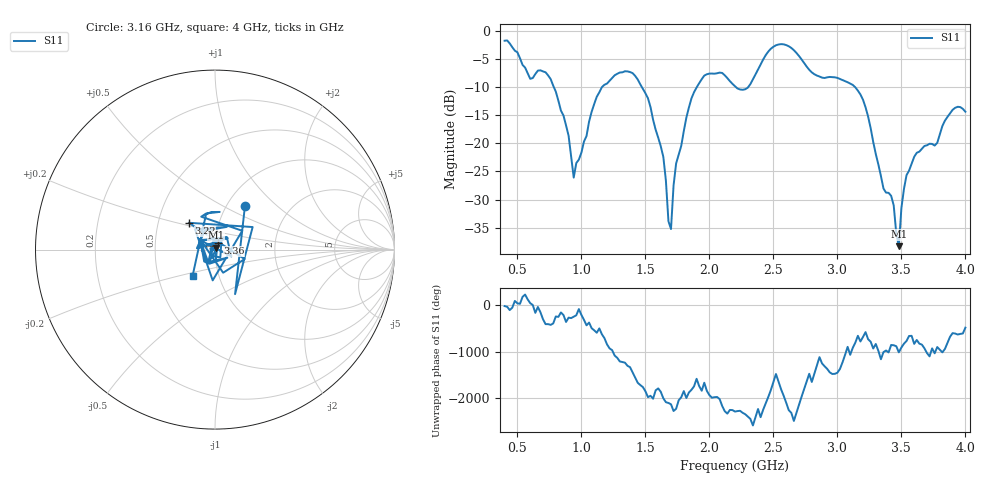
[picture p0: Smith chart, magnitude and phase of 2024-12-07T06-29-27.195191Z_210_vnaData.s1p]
!Created with skrf (http://scikit-rf.org).
# Hz S RI R 50.0
!freq ReS11 ImS11
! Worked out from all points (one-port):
!   181 points, 400 MHz to 4 GHz, reference 50 ohm
!   lowest |S11| = -38.3 dB at 3.48 GHz (marker M1), VSWR 1.02, Z = 50.5 + j1.1 ohm
!   |S11| at or under -10 dB: 784.9 MHz to 1.16 GHz (375 MHz wide, 38.6 % of centre); 1.473 GHz to 1.901 GHz (428.8 MHz wide, 25.4 % of centre); 3.139 GHz to end of sweep (the widest 3 of 4)
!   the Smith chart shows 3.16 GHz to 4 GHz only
!   S11 on the Smith chart (normalised r, x): 3.16 GHz: 1.21, +0.64; 3.22 GHz: 0.72, +0.22; 3.36 GHz: 1.03, +0.08; 4 GHz: 0.75, -0.23
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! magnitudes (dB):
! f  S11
! 400 MHz  -1.7
! 600 MHz  -8.5
! 740 MHz  -7.9
! 860 MHz  -15.1
! 940 MHz  -26.1
! 1.12 GHz  -11.7
! 1.3 GHz  -7.4
! 1.52 GHz  -12.0
! 1.64 GHz  -22.4
! 1.68 GHz  -33.8
! 1.7 GHz  -35.2
! 1.72 GHz  -27.5
! 1.76 GHz  -22.0
! 1.86 GHz  -12.0
! 1.96 GHz  -7.9
! 2.2 GHz  -9.8
! 2.5 GHz  -2.8
! 2.66 GHz  -3.4
! 3.1 GHz  -9.4
! 3.16 GHz  -10.6
! 3.22 GHz  -13.6
! 3.36 GHz  -28.0
! 3.44 GHz  -31.0
! 3.48 GHz  -38.3
! 3.52 GHz  -28.1
! 3.56 GHz  -24.8
! 3.9 GHz  -14.0
! 4 GHz  -14.4
